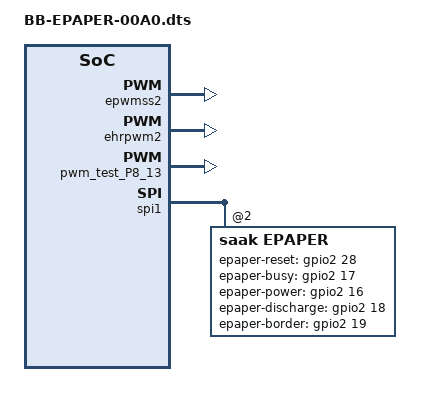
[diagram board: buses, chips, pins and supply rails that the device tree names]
/*
* Copyright (C) 2012 Texas Instruments Incorporated - http://www.ti.com/
*
* This program is free software; you can redistribute it and/or modify
* it under the terms of the GNU General Purpose License Version 2 as
* published by the Free Software Foundation
*
* by Saak Dertadian (s.dertadian@gmail.com)
*
* Cape ePaper from Pervasive for Beaglebone
*
*/

/dts-v1/;
/plugin/;

/ {
	compatible = "ti,beaglebone", "ti,beaglebone-black";

	/* identification */
	part-number = "BB-EPAPER";
	version = "00A0";

	/* state the resources this cape uses */
	exclusive-use =
		/* the pin header uses */
		"P8.13",		/* pwm: ehrpwm2B */
		"P9.12",	/* GPIO_RESET */
		"P9.23",	/* GPIO_BUSY */
		"P9.15",	/* GPIO_POWER */
		"P9.14",	/* GPIO_DISCHARGE */
		"P9.16",	/* GPIO_BORDER */
		"P9.28",	/* SPI1_CS0 	*/
		"P9.29",	/* SPI1_MISO   */
		"P9.30",	/* SPI1_MOSI	*/
		"P9.31",	/* SPI1_SCLK	*/
		"P9.42",	/* SPI1_CS1	*/
		/* the hardware IP uses */
		"spi1",
		"ehrpwm2B";

	fragment@0 {
		target = <&am33xx_pinmux>;
		__overlay__ {

			bone_epaper_lcd_pins: pinmux_epaper_lcd_pins {
				pinctrl-single,pins = <
					0x078 0x7F  /* P9_12  60  OUTPUT MODE7 - RESET      GPIO1_28 */
					0x044 0x27  /* P9_23  49  OUTPUT MODE7 - BUSY       GPIO1-17 */
					0x040 0x7F  /* P9_15  48  OUTPUT MODE7 - POWER      GPIO1_16 */
					0x048 0x7F  /* P9_14  50  OUTPUT MODE7 - DISCHARGE  GPIO1_18 */
					0x04C 0x7F  /* P9_16  51  OUTPUT MODE7 - BORDER     GPIO1_19 */

					/* OUTPUT  GPIO(mode7) 0x07 pulldown, 0x17 pullup, 0x?f no pullup/down */
					/* INPUT   GPIO(mode7) 0x27 pulldown, 0x37 pullup, 0x?f no pullup/down */
				>;
			};

			pwm_P8_13: pinmux_pwm_P8_13_pins {
				pinctrl-single,pins = <0x024  0x4>; /* P8_13 (ZCZ ball T10) | MODE 4 */
			};

			bone_epaper_spi1_pins: pinmux_epaper_spi1_pins {
				pinctrl-single,pins = <
				0x190 0x13	/* P9_31 = mcasp0_aclkx.spi1_sclk				 , OUTPUT_PULLUP | MODE3 */
				0x194 0x33	/* P9_29 = mcasp0_fsx.spi1_d0					 , INPUT_PULLUP  | MODE3 */
				0x198 0x13	/* P9_30 = mcasp0_axr0.spi1_d1					 , OUTPUT_PULLUP | MODE3 */
				0x19c 0x13	/* P9_28 = mcasp0_ahclkr.spi1_cs0				 , OUTPUT_PULLUP | MODE3 */
				0x164 0x12  /* P9_42 = GPIO0_7 =  eCAP0_in_PWM0_out.gpio0[7] , OUTPUT_PULLUP | MODE2 */
				>;
			};
		};
	};

	fragment@1 {
		target = <&epwmss2>;
		__overlay__ {
			status = "okay";
		};
	};

	fragment@2 {
		target = <&ehrpwm2>;
		__overlay__ {
			status = "okay";
		};
	};

	fragment@3 {
		target = <&ocp>;
		__overlay__ {
			pwm_test_P8_13 {
				compatible	= "pwm_test";
				pwms 		= <&ehrpwm2 1 5000 1>;
				pwm-names 	= "PWM_P8_13";

				pinctrl-names	= "default";
				pinctrl-0	= <&pwm_P8_13>;

				enabled		= <1>;
				duty		= <1000>;
				status 		= "okay";
			};
		};
	};

	fragment@4 {
		target = <&spi1>;
		__overlay__ {
			#address-cells = <1>;
			#size-cells = <0>;

			status = "okay";
			pinctrl-names = "default";
			pinctrl-0 = <&bone_epaper_spi1_pins>;
			cs-gpios = <&gpio4 17 0>, <&gpio1 7 0>;

			channel@0 {
				#address-cells = <1>;
				#size-cells = <0>;

				compatible = "spidev";

				reg = <0>;
				spi-max-frequency = <16000000>;
				spi-cpha;
			};


			channel@1 {
				#address-cells = <1>;
				#size-cells = <0>;

				compatible = "spidev";

				reg = <1>;
				spi-max-frequency = <16000000>;
			};

			epaper@2 {
				#address-cells = <1>;
				#size-cells = <0>;

				compatible = "saak,epaper";

				pinctrl-names = "default";
				pinctrl-0 = <&bone_epaper_lcd_pins>;

				epaper-reset		= <&gpio2 28 0>;
				epaper-busy			= <&gpio2 17 0>;
				epaper-power		= <&gpio2 16 0>;
				epaper-discharge	= <&gpio2 18 0>;
				epaper-border		= <&gpio2 19 0>;
			};
		};
	};
};
